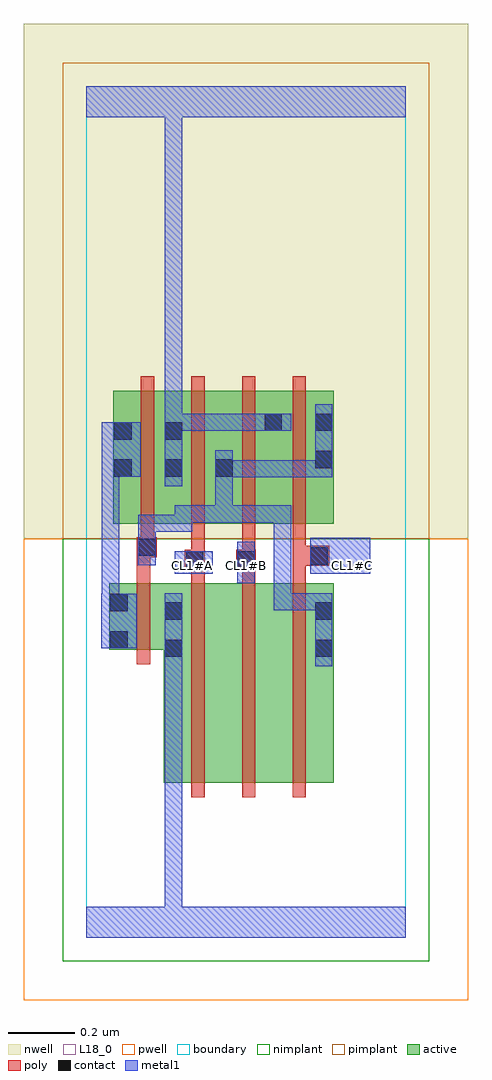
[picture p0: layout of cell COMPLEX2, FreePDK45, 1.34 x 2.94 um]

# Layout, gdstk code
import gdstk
lib = gdstk.Library(unit=1e-6, precision=1e-09)
def R(c, l, rs):  # rectangles x0, y0, x1, y1
    for r in rs: c.add(gdstk.rectangle(r[:2], r[2:], *l))
def A(c, l, x, y, w, h, nx, ny, dx, dy):  # array of equal rectangles
    R(c, l, [(x+i*dx, y+j*dy, x+i*dx+w, y+j*dy+h) for i in range(nx) for j in range(ny)])
active = (1, 0)
pwell = (2, 0)
nwell = (3, 0)
nimplant = (4, 0)
pimplant = (5, 0)
poly = (9, 0)
contact = (10, 0)
metal1 = (11, 0)
L18_0 = (18, 0)
boundary = (235, 0)

complex2 = lib.new_cell('COMPLEX2')
A(complex2, active, 0.08, 1.244, 0.06, 0.4, 3, 1, 0.152, 0)
R(complex2, active, [(0.232,0.466,0.412,1.066), (0.232,0.466,0.292,1.012), (0.412,0.466,0.564,1.066), (0.564,0.466,0.744,1.066), (0.684,0.556,0.744,1.066), (0.068,0.866,0.292,1.066), (0.068,0.866,0.128,1.066), (0.08,1.244,0.292,1.644), (0.232,1.244,0.444,1.644), (0.384,1.244,0.592,1.644), (0.532,1.244,0.592,1.644), (0.532,1.244,0.744,1.644), (0.684,1.244,0.744,1.644)])
R(complex2, pwell, [(-0.188,-0.188,1.148,1.2)])
R(complex2, nwell, [(-0.188,1.2,1.148,2.748)])
R(complex2, nimplant, [(-0.072,-0.072,1.032,1.2)])
R(complex2, pimplant, [(-0.072,1.2,1.032,2.632)])
A(complex2, poly, 0.316, 0.422, 0.04, 0.688, 3, 1, 0.152, 0)
A(complex2, poly, 0.164, 1.2, 0.04, 0.488, 4, 1, 0.152, 0)
R(complex2, poly, [(0.152,0.822,0.192,1.11), (0.152,1.07,0.192,1.184), (0.316,1.07,0.356,1.146), (0.468,1.07,0.508,1.146), (0.62,1.07,0.66,1.158), (0.296,1.106,0.356,1.166), (0.45,1.106,0.51,1.166), (0.62,1.118,0.66,1.158), (0.62,1.118,0.66,1.158), (0.62,1.118,0.73,1.178), (0.316,1.126,0.356,1.166), (0.316,1.126,0.356,1.166), (0.316,1.126,0.356,1.24), (0.468,1.126,0.508,1.166), (0.468,1.126,0.508,1.166), (0.468,1.126,0.508,1.24), (0.62,1.138,0.66,1.24), (0.152,1.144,0.192,1.184), (0.152,1.144,0.192,1.184), (0.152,1.144,0.212,1.204), (0.164,1.164,0.204,1.24)])
A(complex2, contact, 0.084, 1.386, 0.052, 0.052, 3, 1, 0.152, 0)
R(complex2, contact, [(0.236,0.844,0.288,0.896), (0.688,0.844,0.74,0.896), (0.072,0.87,0.124,0.922), (0.236,0.956,0.288,1.008), (0.688,0.956,0.74,1.008), (0.072,0.982,0.124,1.034), (0.3,1.11,0.352,1.162), (0.454,1.11,0.506,1.162), (0.674,1.122,0.726,1.174), (0.156,1.148,0.208,1.2), (0.688,1.412,0.74,1.464), (0.084,1.498,0.136,1.55), (0.236,1.498,0.288,1.55), (0.536,1.524,0.588,1.576), (0.688,1.524,0.74,1.576)])
R(complex2, metal1, [(0,0,0.96,0.092), (0.236,0.04,0.288,0.092), (0.236,0.04,0.288,0.092), (0.236,0.04,0.288,0.092), (0.236,0.04,0.288,0.092), (0.236,0.04,0.288,0.092), (0.236,0.04,0.288,0.092), (0.236,0.04,0.288,0.092), (0.236,0.04,0.288,0.092), (0.236,0.04,0.288,0.868), (0.236,0.816,0.288,1.036), (0.688,0.816,0.74,1.036), (0.044,0.87,0.152,1.034), (0.046,0.982,0.098,1.438), (0.564,0.984,0.616,1.036), (0.564,0.984,0.74,1.036), (0.564,0.984,0.616,1.3), (0.688,0.984,0.74,1.036), (0.688,0.984,0.74,1.036), (0.688,0.984,0.74,1.036), (0.688,0.984,0.74,1.036), (0.454,1.066,0.506,1.19), (0.266,1.094,0.38,1.162), (0.674,1.094,0.854,1.202), (0.156,1.12,0.208,1.228), (0.156,1.176,0.208,1.228), (0.156,1.176,0.208,1.272), (0.156,1.22,0.318,1.272), (0.266,1.22,0.318,1.3), (0.266,1.248,0.44,1.3), (0.388,1.248,0.44,1.3), (0.388,1.248,0.44,1.3), (0.388,1.248,0.44,1.3), (0.388,1.248,0.616,1.3), (0.388,1.248,0.44,1.41), (0.564,1.248,0.616,1.3), (0.236,1.358,0.288,1.578), (0.388,1.358,0.44,1.466), (0.388,1.384,0.616,1.436), (0.564,1.384,0.616,1.436), (0.564,1.384,0.616,1.436), (0.564,1.384,0.616,1.436), (0.564,1.384,0.74,1.436), (0.688,1.384,0.74,1.436), (0.688,1.384,0.74,1.436), (0.688,1.384,0.74,1.604), (0.046,1.386,0.098,1.438), (0.046,1.386,0.098,1.438), (0.046,1.386,0.098,1.438), (0.046,1.386,0.098,1.438), (0.046,1.386,0.164,1.55), (0.236,1.524,0.318,1.576), (0.266,1.524,0.318,1.576), (0.266,1.524,0.428,1.576), (0.376,1.524,0.428,1.576), (0.376,1.524,0.428,1.576), (0.376,1.524,0.428,1.576), (0.376,1.524,0.56,1.576), (0.508,1.524,0.616,1.576), (0.236,1.526,0.288,2.52), (0,2.468,0.96,2.56), (0.236,2.468,0.288,2.52), (0.236,2.468,0.288,2.52), (0.236,2.468,0.288,2.52), (0.236,2.468,0.288,2.52), (0.236,2.468,0.288,2.52), (0.236,2.468,0.288,2.52), (0.236,2.468,0.288,2.52), (0.236,2.468,0.288,2.52), (0.236,2.468,0.288,2.52), (0.236,2.468,0.288,2.52), (0.236,2.468,0.288,2.52), (0.236,2.468,0.288,2.52), (0.236,2.468,0.288,2.52), (0.236,2.468,0.288,2.52), (0.236,2.468,0.288,2.52), (0.236,2.468,0.288,2.52)])
R(complex2, L18_0, [(0,0,0.96,0.092), (0.236,0.04,0.288,0.092), (0.236,0.04,0.288,0.092), (0.236,0.04,0.288,0.092), (0.236,0.04,0.288,0.092), (0.236,0.04,0.288,0.092), (0.236,0.04,0.288,0.092), (0.236,0.04,0.288,0.092), (0.236,0.04,0.288,0.092), (0.236,0.04,0.288,0.868), (0.236,0.816,0.288,1.036), (0.454,1.066,0.506,1.19), (0.266,1.094,0.38,1.162), (0.294,1.094,0.346,1.146), (0.454,1.094,0.506,1.146), (0.674,1.094,0.854,1.202), (0.774,1.094,0.826,1.146), (0.236,1.358,0.288,1.578), (0.236,1.524,0.318,1.576), (0.266,1.524,0.318,1.576), (0.266,1.524,0.428,1.576), (0.376,1.524,0.428,1.576), (0.376,1.524,0.428,1.576), (0.376,1.524,0.428,1.576), (0.376,1.524,0.56,1.576), (0.508,1.524,0.616,1.576), (0.236,1.526,0.288,2.52), (0,2.468,0.96,2.56), (0.236,2.468,0.288,2.52), (0.236,2.468,0.288,2.52), (0.236,2.468,0.288,2.52), (0.236,2.468,0.288,2.52), (0.236,2.468,0.288,2.52), (0.236,2.468,0.288,2.52), (0.236,2.468,0.288,2.52), (0.236,2.468,0.288,2.52), (0.236,2.468,0.288,2.52), (0.236,2.468,0.288,2.52), (0.236,2.468,0.288,2.52), (0.236,2.468,0.288,2.52), (0.236,2.468,0.288,2.52), (0.236,2.468,0.288,2.52), (0.236,2.468,0.288,2.52), (0.236,2.468,0.288,2.52)])
R(complex2, boundary, [(0,0,0.96,2.56)])
complex2.add(gdstk.Label('CL1#A', (0.32,1.12), layer=11, texttype=0))
complex2.add(gdstk.Label('CL1#B', (0.48,1.12), layer=11, texttype=0))
complex2.add(gdstk.Label('CL1#C', (0.8,1.12), layer=11, texttype=0))

lib.write_gds('COMPLEX2.gds')
